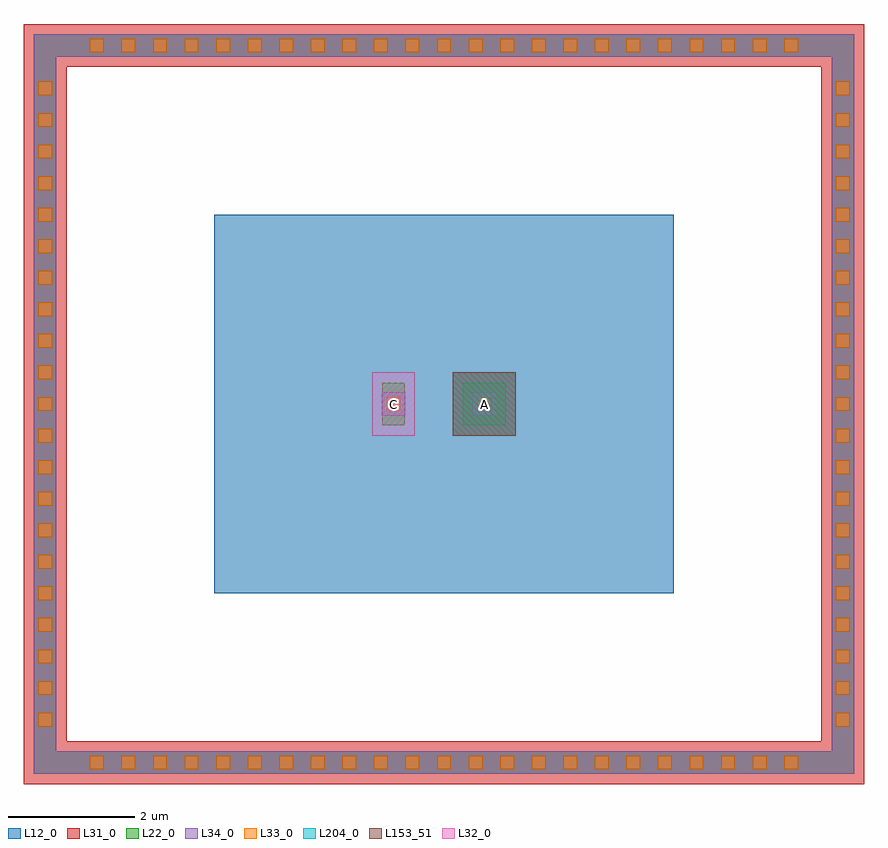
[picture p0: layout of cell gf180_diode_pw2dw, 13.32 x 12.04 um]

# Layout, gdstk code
import gdstk
lib = gdstk.Library(unit=1e-6, precision=1e-09)
def R(c, l, rs):  # rectangles x0, y0, x1, y1
    for r in rs: c.add(gdstk.rectangle(r[:2], r[2:], *l))
def A(c, l, x, y, w, h, nx, ny, dx, dy):  # array of equal rectangles
    R(c, l, [(x+i*dx, y+j*dy, x+i*dx+w, y+j*dy+h) for i in range(nx) for j in range(ny)])
def P(c, l, *ps):  # polygons
    for p in ps: c.add(gdstk.Polygon(p, *l))
L12_0 = (12, 0)
L22_0 = (22, 0)
L31_0 = (31, 0)
L32_0 = (32, 0)
L33_0 = (33, 0)
L34_0 = (34, 0)
L153_51 = (153, 51)
L204_0 = (204, 0)

gf180_diode_pw2dw = lib.new_cell('gf180_diode_pw2dw')
R(gf180_diode_pw2dw, L12_0, [(-3.78,-2.5,3.5,3.5)])
R(gf180_diode_pw2dw, L22_0, [(-1.12,0.16,-0.76,0.84), (0.16,0.16,0.84,0.84)])
P(gf180_diode_pw2dw, L22_0, [(-6.64,-5.36),(-6.64,6),(-6.28,6),(-6.28,-5),(6,-5),(6,6),(-6.64,6),(-6.64,6.36),(6.36,6.36),(6.36,-5.36)])
R(gf180_diode_pw2dw, L31_0, [(0,0,1,1)])
P(gf180_diode_pw2dw, L31_0, [(-6.8,-5.52),(-6.8,5.84),(-6.12,5.84),(-6.12,-4.84),(5.84,-4.84),(5.84,5.84),(-6.8,5.84),(-6.8,6.52),(6.52,6.52),(6.52,-5.52)])
R(gf180_diode_pw2dw, L32_0, [(-1.28,0,-0.6,1)])
A(gf180_diode_pw2dw, L33_0, -5.75, -5.29, 0.22, 0.22, 23, 2, 0.5, 11.36)
A(gf180_diode_pw2dw, L33_0, -6.57, -4.61, 0.22, 0.22, 1, 21, 0, 0.5)
A(gf180_diode_pw2dw, L33_0, 6.07, -4.61, 0.22, 0.22, 1, 21, 0, 0.5)
R(gf180_diode_pw2dw, L33_0, [(-1.05,0.39,-0.83,0.61), (0.39,0.39,0.61,0.61)])
R(gf180_diode_pw2dw, L34_0, [(-1.13,0.31,-0.75,0.69), (0.31,0.31,0.69,0.69)])
P(gf180_diode_pw2dw, L34_0, [(-6.64,-5.36),(-6.64,6),(-6.28,6),(-6.28,-5),(6,-5),(6,6),(-6.64,6),(-6.64,6.36),(6.36,6.36),(6.36,-5.36)])
R(gf180_diode_pw2dw, L153_51, [(0,0,1,1)])
R(gf180_diode_pw2dw, L204_0, [(0,0,1,1)])
gf180_diode_pw2dw.add(gdstk.Label('A', (0.5,0.5), layer=34, texttype=10))
gf180_diode_pw2dw.add(gdstk.Label('C', (-0.94,0.5), layer=34, texttype=10))

lib.write_gds('gf180_diode_pw2dw.gds')
